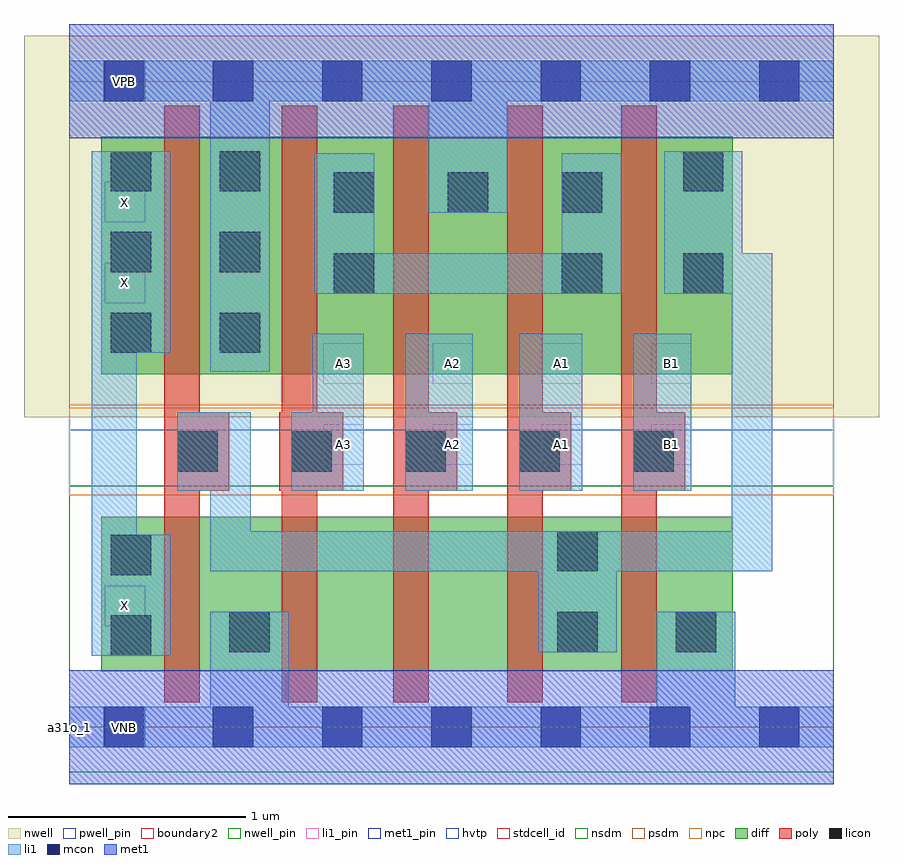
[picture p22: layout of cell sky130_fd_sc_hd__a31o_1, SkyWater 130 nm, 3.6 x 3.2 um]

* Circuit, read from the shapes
.subckt sky130_fd_sc_hd__a31o_1 A1 A2 A3 B1 VGND VNB VPB VPWR X
XM1 VGND n1 X VNB sky130_fd_pr__nfet_01v8 w=0.65 l=0.15
XM2 n2 A3 VGND VNB sky130_fd_pr__nfet_01v8 w=0.65 l=0.15
XM3 n3 A2 n2 VNB sky130_fd_pr__nfet_01v8 w=0.65 l=0.15
XM4 n1 A1 n3 VNB sky130_fd_pr__nfet_01v8 w=0.65 l=0.15
XM5 VGND B1 n1 VNB sky130_fd_pr__nfet_01v8 w=0.65 l=0.15
XM6 VPWR n1 X VPB sky130_fd_pr__pfet_01v8_hvt w=1 l=0.15
XM7 n4 A3 VPWR VPB sky130_fd_pr__pfet_01v8_hvt w=1 l=0.15
XM8 VPWR A2 n4 VPB sky130_fd_pr__pfet_01v8_hvt w=1 l=0.15
XM9 n4 A1 VPWR VPB sky130_fd_pr__pfet_01v8_hvt w=1 l=0.15
XM10 n1 B1 n4 VPB sky130_fd_pr__pfet_01v8_hvt w=1 l=0.15
.ends

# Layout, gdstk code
import gdstk
lib = gdstk.Library(unit=1e-6, precision=1e-09)
def R(c, l, rs):  # rectangles x0, y0, x1, y1
    for r in rs: c.add(gdstk.rectangle(r[:2], r[2:], *l))
def A(c, l, x, y, w, h, nx, ny, dx, dy):  # array of equal rectangles
    R(c, l, [(x+i*dx, y+j*dy, x+i*dx+w, y+j*dy+h) for i in range(nx) for j in range(ny)])
def P(c, l, *ps):  # polygons
    for p in ps: c.add(gdstk.Polygon(p, *l))
nwell_pin = (64, 16)
nwell = (64, 20)
diff = (65, 20)
poly = (66, 20)
licon = (66, 44)
li1_pin = (67, 16)
li1 = (67, 20)
mcon = (67, 44)
met1_pin = (68, 16)
met1 = (68, 20)
hvtp = (78, 44)
stdcell_id = (81, 4)
nsdm = (93, 44)
psdm = (94, 20)
npc = (95, 20)
pwell_pin = (122, 16)
boundary2 = (236, 0)

sky130_fd_sc_hd__a31o_1 = lib.new_cell('sky130_fd_sc_hd__a31o_1')
R(sky130_fd_sc_hd__a31o_1, nwell_pin, [(0.15,2.635,0.32,2.805)])
R(sky130_fd_sc_hd__a31o_1, nwell, [(-0.19,1.305,3.41,2.91)])
R(sky130_fd_sc_hd__a31o_1, diff, [(0.135,0.235,2.795,0.885), (0.135,1.485,2.795,2.485)])
P(sky130_fd_sc_hd__a31o_1, poly, [(0.675,1.325),(0.55,1.325),(0.55,2.615),(0.4,2.615),(0.4,0.105),(0.55,0.105),(0.55,0.995),(0.675,0.995)],
  [(1.155,1.325),(1.045,1.325),(1.045,2.615),(0.895,2.615),(0.895,1.325),(0.885,1.325),(0.885,0.995),(0.895,0.995),(0.895,0.105),(1.045,0.105),(1.045,0.995),(1.155,0.995)],
  [(1.635,1.325),(1.515,1.325),(1.515,2.615),(1.365,2.615),(1.365,0.105),(1.515,0.105),(1.515,0.995),(1.635,0.995)],
  [(2.115,1.325),(1.995,1.325),(1.995,2.615),(1.845,2.615),(1.845,0.105),(1.995,0.105),(1.995,0.995),(2.115,0.995)],
  [(2.595,1.325),(2.475,1.325),(2.475,2.615),(2.325,2.615),(2.325,0.105),(2.475,0.105),(2.475,0.995),(2.595,0.995)])
A(sky130_fd_sc_hd__a31o_1, licon, 0.455, 1.075, 0.17, 0.17, 5, 1, 0.48, 0)
A(sky130_fd_sc_hd__a31o_1, licon, 0.175, 1.575, 0.17, 0.17, 1, 3, 0, 0.34)
A(sky130_fd_sc_hd__a31o_1, licon, 0.635, 1.575, 0.17, 0.17, 1, 3, 0, 0.34)
A(sky130_fd_sc_hd__a31o_1, licon, 1.115, 2.165, 0.17, 0.17, 3, 1, 0.48, 0)
R(sky130_fd_sc_hd__a31o_1, licon, [(0.175,0.3,0.345,0.47), (0.675,0.315,0.845,0.485), (2.055,0.315,2.225,0.485), (2.555,0.315,2.725,0.485), (0.175,0.64,0.345,0.81), (2.055,0.655,2.225,0.825), (1.115,1.825,1.285,1.995), (2.075,1.825,2.245,1.995), (2.585,1.825,2.755,1.995), (2.585,2.255,2.755,2.425)])
A(sky130_fd_sc_hd__a31o_1, li1_pin, 1.07, 1.105, 0.17, 0.17, 4, 2, 0.46, 0.34)
R(sky130_fd_sc_hd__a31o_1, li1_pin, [(0.15,0.425,0.32,0.595), (0.15,1.785,0.32,1.955), (0.15,2.125,0.32,2.295)])
R(sky130_fd_sc_hd__a31o_1, li1, [(1.415,0.995,1.7,1.655), (1.895,0.995,2.16,1.655), (2.375,0.995,2.62,1.655)])
P(sky130_fd_sc_hd__a31o_1, li1, [(1.24,1.655),(1.025,1.655),(1.025,1.325),(0.935,1.325),(0.935,0.995),(1.24,0.995)],
  [(3.22,2.805),(0,2.805),(0,2.635),(0.595,2.635),(0.595,1.495),(0.845,1.495),(0.845,2.635),(1.515,2.635),(1.515,2.165),(1.845,2.165),(1.845,2.635),(3.22,2.635)],
  [(3.22,0.085),(2.805,0.085),(2.805,0.485),(2.475,0.485),(2.475,0.085),(0.925,0.085),(0.925,0.485),(0.595,0.485),(0.595,0.085),(0,0.085),(0,-0.085),(3.22,-0.085)],
  [(2.96,1.995),(2.835,1.995),(2.835,2.425),(2.505,2.425),(2.505,1.825),(2.79,1.825),(2.79,0.825),(0.765,0.825),(0.765,1.325),(0.455,1.325),(0.455,0.995),(0.595,0.995),(0.595,0.655),(1.975,0.655),(1.975,0.315),(2.305,0.315),(2.305,0.655),(2.96,0.655)],
  [(2.325,2.415),(2.075,2.415),(2.075,1.995),(1.285,1.995),(1.285,2.415),(1.035,2.415),(1.035,1.825),(2.325,1.825)],
  [(0.425,0.81),(0.285,0.81),(0.285,1.575),(0.425,1.575),(0.425,2.425),(0.095,2.425),(0.095,0.3),(0.425,0.3)])
A(sky130_fd_sc_hd__a31o_1, mcon, 0.145, -0.085, 0.17, 0.17, 7, 2, 0.46, 2.72)
R(sky130_fd_sc_hd__a31o_1, met1_pin, [(0.15,-0.085,0.32,0.085), (0.15,2.635,0.32,2.805)])
R(sky130_fd_sc_hd__a31o_1, hvtp, [(0,1.25,3.22,2.72)])
R(sky130_fd_sc_hd__a31o_1, stdcell_id, [(0,0,3.22,2.72)])
R(sky130_fd_sc_hd__a31o_1, nsdm, [(0,-0.19,3.22,1.015)])
R(sky130_fd_sc_hd__a31o_1, psdm, [(0,1.355,3.22,2.91)])
R(sky130_fd_sc_hd__a31o_1, npc, [(0,0.975,3.22,1.345)])
R(sky130_fd_sc_hd__a31o_1, pwell_pin, [(0.15,-0.085,0.32,0.085)])
R(sky130_fd_sc_hd__a31o_1, boundary2, [(0,0,3.22,2.72)])
sky130_fd_sc_hd__a31o_1.add(gdstk.FlexPath([(0,2.72),(3.22,2.72)], 0.48, ends="flush", simple_path=True, layer=68, datatype=20))  # met1
sky130_fd_sc_hd__a31o_1.add(gdstk.FlexPath([(0,0),(3.22,0)], 0.48, ends="flush", simple_path=True, layer=68, datatype=20))  # met1
sky130_fd_sc_hd__a31o_1.add(gdstk.Label('A2', (1.615,1.53), layer=67, texttype=5))
sky130_fd_sc_hd__a31o_1.add(gdstk.Label('B1', (2.535,1.53), layer=67, texttype=5))
sky130_fd_sc_hd__a31o_1.add(gdstk.Label('A1', (2.075,1.19), layer=67, texttype=5))
sky130_fd_sc_hd__a31o_1.add(gdstk.Label('A3', (1.155,1.53), layer=67, texttype=5))
sky130_fd_sc_hd__a31o_1.add(gdstk.Label('A2', (1.615,1.19), layer=67, texttype=5))
sky130_fd_sc_hd__a31o_1.add(gdstk.Label('A3', (1.155,1.19), layer=67, texttype=5))
sky130_fd_sc_hd__a31o_1.add(gdstk.Label('X', (0.235,2.21), layer=67, texttype=5))
sky130_fd_sc_hd__a31o_1.add(gdstk.Label('A1', (2.075,1.53), layer=67, texttype=5))
sky130_fd_sc_hd__a31o_1.add(gdstk.Label('X', (0.235,1.87), layer=67, texttype=5))
sky130_fd_sc_hd__a31o_1.add(gdstk.Label('X', (0.235,0.51), layer=67, texttype=5))
sky130_fd_sc_hd__a31o_1.add(gdstk.Label('B1', (2.535,1.19), layer=67, texttype=5))
sky130_fd_sc_hd__a31o_1.add(gdstk.Label('VPB', (0.235,2.72), layer=64, texttype=5))
sky130_fd_sc_hd__a31o_1.add(gdstk.Label('VNB', (0.235,0), layer=64, texttype=59))
sky130_fd_sc_hd__a31o_1.add(gdstk.Label('VGND', (0.23,0), layer=68, texttype=5))
sky130_fd_sc_hd__a31o_1.add(gdstk.Label('VPWR', (0.23,2.72), layer=68, texttype=5))
sky130_fd_sc_hd__a31o_1.add(gdstk.Label('a31o_1', (0,0), layer=83, texttype=44))

lib.write_gds('sky130_fd_sc_hd__a31o_1.gds')
